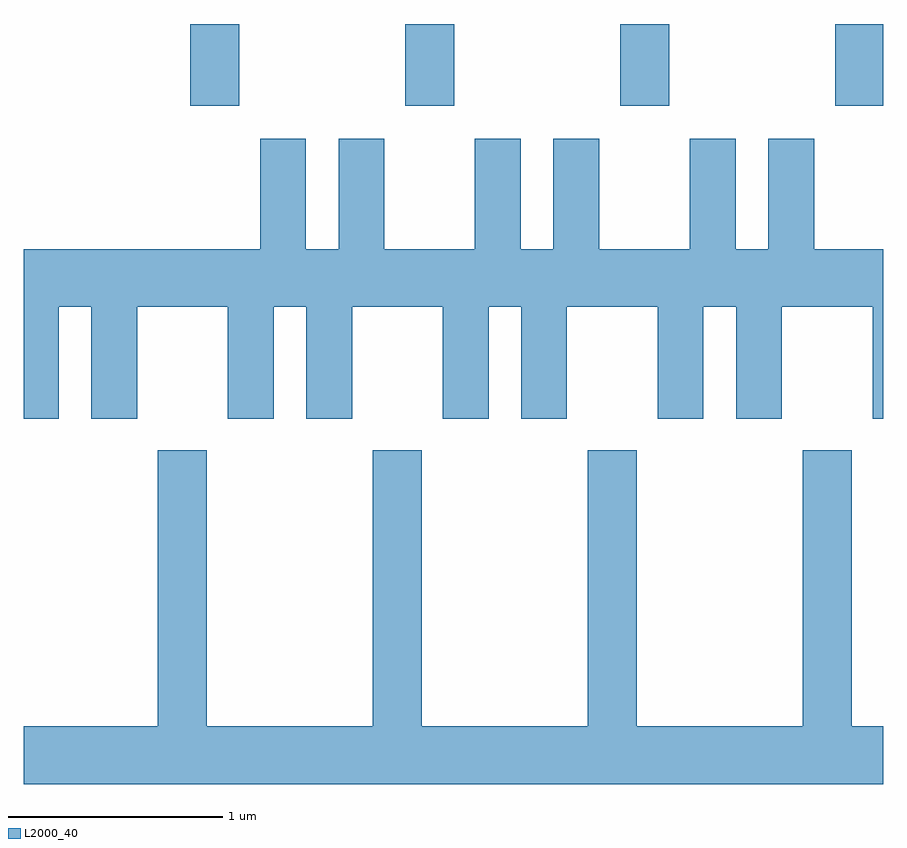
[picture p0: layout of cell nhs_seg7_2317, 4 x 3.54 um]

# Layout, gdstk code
import gdstk
lib = gdstk.Library(unit=1e-6, precision=1e-09)
def R(c, l, rs):  # rectangles x0, y0, x1, y1
    for r in rs: c.add(gdstk.rectangle(r[:2], r[2:], *l))
def A(c, l, x, y, w, h, nx, ny, dx, dy):  # array of equal rectangles
    R(c, l, [(x+i*dx, y+j*dy, x+i*dx+w, y+j*dy+h) for i in range(nx) for j in range(ny)])
def P(c, l, *ps):  # polygons
    for p in ps: c.add(gdstk.Polygon(p, *l))
L2000_40 = (2000, 40)

nhs_seg7_2317 = lib.new_cell('nhs_seg7_2317')
A(nhs_seg7_2317, L2000_40, 256.386, 1761.871, 0.228, 0.381, 3, 1, 1, 0)
R(nhs_seg7_2317, L2000_40, [(259.386,1761.871,259.611,1762.252)])
P(nhs_seg7_2317, L2000_40, [(255.774,1760.936),(255.926,1760.936),(255.926,1760.416),(256.139,1760.416),(256.139,1760.936),(256.561,1760.936),(256.561,1760.416),(256.774,1760.416),(256.774,1760.936),(256.926,1760.936),(256.926,1760.416),(257.139,1760.416),(257.139,1760.936),(257.561,1760.936),(257.561,1760.416),(257.774,1760.416),(257.774,1760.936),(257.926,1760.936),(257.926,1760.416),(258.139,1760.416),(258.139,1760.936),(258.561,1760.936),(258.561,1760.416),(258.774,1760.416),(258.774,1760.936),(258.926,1760.936),(258.926,1760.416),(259.139,1760.416),(259.139,1760.936),(259.561,1760.936),(259.561,1760.416),(259.611,1760.416),(259.611,1761.204),(259.289,1761.204),(259.289,1761.719),(259.076,1761.719),(259.076,1761.204),(258.924,1761.204),(258.924,1761.719),(258.711,1761.719),(258.711,1761.204),(258.289,1761.204),(258.289,1761.719),(258.076,1761.719),(258.076,1761.204),(257.924,1761.204),(257.924,1761.719),(257.711,1761.719),(257.711,1761.204),(257.289,1761.204),(257.289,1761.719),(257.076,1761.719),(257.076,1761.204),(256.924,1761.204),(256.924,1761.719),(256.711,1761.719),(256.711,1761.204),(255.611,1761.204),(255.611,1760.416),(255.774,1760.416)],
  [(259.611,1758.984),(259.464,1758.984),(259.464,1760.269),(259.236,1760.269),(259.236,1758.984),(258.464,1758.984),(258.464,1760.269),(258.236,1760.269),(258.236,1758.984),(257.464,1758.984),(257.464,1760.269),(257.236,1760.269),(257.236,1758.984),(256.464,1758.984),(256.464,1760.269),(256.236,1760.269),(256.236,1758.984),(255.611,1758.984),(255.611,1758.716),(259.611,1758.716)])

lib.write_gds('nhs_seg7_2317.gds')
